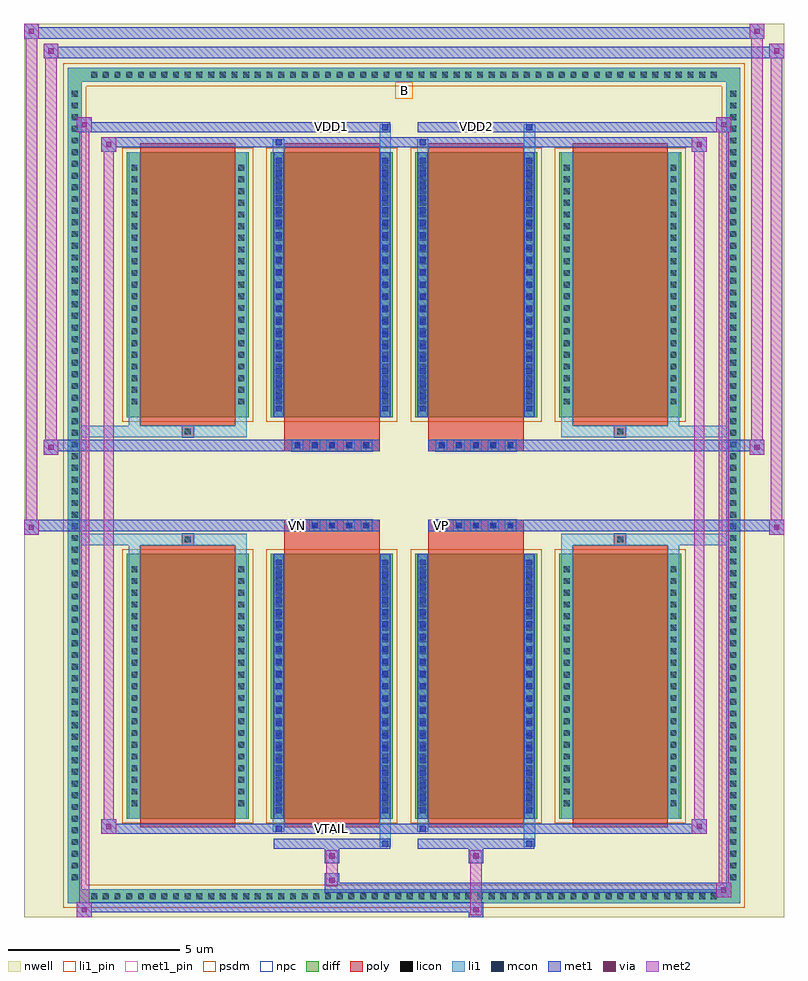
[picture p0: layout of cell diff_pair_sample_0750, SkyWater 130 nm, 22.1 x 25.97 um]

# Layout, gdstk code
import gdstk
lib = gdstk.Library(unit=1e-6, precision=5e-09)
def R(c, l, rs):  # rectangles x0, y0, x1, y1
    for r in rs: c.add(gdstk.rectangle(r[:2], r[2:], *l))
def A(c, l, x, y, w, h, nx, ny, dx, dy):  # array of equal rectangles
    R(c, l, [(x+i*dx, y+j*dy, x+i*dx+w, y+j*dy+h) for i in range(nx) for j in range(ny)])
def P(c, l, *ps):  # polygons
    for p in ps: c.add(gdstk.Polygon(p, *l))
nwell = (64, 20)
diff = (65, 20)
poly = (66, 20)
licon = (66, 44)
li1_pin = (67, 16)
li1 = (67, 20)
mcon = (67, 44)
met1_pin = (68, 16)
met1 = (68, 20)
via = (68, 44)
met2 = (69, 20)
psdm = (94, 20)
npc = (95, 20)

diff_pair_sample_0750 = lib.new_cell('diff_pair_sample_0750')
R(diff_pair_sample_0750, nwell, [(-11.05,-12.55,11.05,13.42), (-8.37,-10.74,-0.01,-0.8), (0.01,-10.74,8.37,-0.8), (-8.37,0.8,-0.01,10.74), (0.01,0.8,8.37,10.74)])
A(diff_pair_sample_0750, diff, -9.215, -12.15, 0.41, 0.41, 54, 2, 0.34, 23.89)
A(diff_pair_sample_0750, diff, -9.78, -11.595, 0.41, 0.41, 1, 68, 0, 0.34)
A(diff_pair_sample_0750, diff, 9.37, -11.595, 0.41, 0.41, 1, 68, 0, 0.34)
A(diff_pair_sample_0750, diff, -8.06, -9.695, 3.55, 7.71, 4, 2, 4.19, 11.68)
R(diff_pair_sample_0750, diff, [(-9.215,-12.15,9.215,-11.74), (-9.78,-11.595,-9.37,11.595), (9.37,-11.595,9.78,11.595), (-9.215,11.74,9.215,12.15)])
P(diff_pair_sample_0750, diff, [(9.78,12.15),(-9.78,12.15),(-9.78,-11.74),(-9.37,-11.74),(-9.37,11.74),(9.37,11.74),(9.37,-11.74),(-9.37,-11.74),(-9.78,-11.74),(-9.78,-12.15),(9.78,-12.15)])
A(diff_pair_sample_0750, poly, -7.67, -9.945, 2.77, 8.21, 4, 2, 4.19, 11.68)
A(diff_pair_sample_0750, poly, -3.26, -1.33, 0.33, 0.33, 5, 2, 0.5, 2.33)
A(diff_pair_sample_0750, poly, 0.93, -1.33, 0.33, 0.33, 5, 2, 0.5, 2.33)
R(diff_pair_sample_0750, poly, [(-6.45,-1.735,-6.12,-1.405), (-6.45,-1.735,-6.12,-1.405), (-3.48,-1.735,-0.71,-1.33), (0.71,-1.735,3.48,-1.33), (6.12,-1.735,6.45,-1.405), (6.12,-1.735,6.45,-1.405), (-3.48,-1.33,-0.71,-1), (0.71,-1.33,3.48,-1), (-3.48,1,-0.71,1.33), (0.71,1,3.48,1.33), (-3.48,1.33,-0.71,1.735), (0.71,1.33,3.48,1.735), (-6.45,1.405,-6.12,1.735), (-6.45,1.405,-6.12,1.735), (6.12,1.405,6.45,1.735), (6.12,1.405,6.45,1.735)])
A(diff_pair_sample_0750, licon, -9.095, -12.03, 0.17, 0.17, 54, 2, 0.34, 23.89)
A(diff_pair_sample_0750, licon, -9.66, -11.475, 0.17, 0.17, 1, 68, 0, 0.34)
A(diff_pair_sample_0750, licon, 9.49, -11.475, 0.17, 0.17, 1, 68, 0, 0.34)
A(diff_pair_sample_0750, licon, -7.92, -9.325, 0.17, 0.17, 1, 21, 0, 0.34)
A(diff_pair_sample_0750, licon, -4.82, -9.325, 0.17, 0.17, 1, 21, 0, 0.34)
A(diff_pair_sample_0750, licon, -3.73, -9.325, 0.17, 0.17, 1, 21, 0, 0.34)
A(diff_pair_sample_0750, licon, -0.63, -9.325, 0.17, 0.17, 1, 21, 0, 0.34)
A(diff_pair_sample_0750, licon, 0.46, -9.325, 0.17, 0.17, 1, 21, 0, 0.34)
A(diff_pair_sample_0750, licon, 3.56, -9.325, 0.17, 0.17, 1, 21, 0, 0.34)
A(diff_pair_sample_0750, licon, 4.65, -9.325, 0.17, 0.17, 1, 21, 0, 0.34)
A(diff_pair_sample_0750, licon, 7.75, -9.325, 0.17, 0.17, 1, 21, 0, 0.34)
A(diff_pair_sample_0750, licon, -3.18, -1.25, 0.17, 0.17, 5, 2, 0.5, 2.33)
A(diff_pair_sample_0750, licon, 1.01, -1.25, 0.17, 0.17, 5, 2, 0.5, 2.33)
A(diff_pair_sample_0750, licon, -7.92, 2.355, 0.17, 0.17, 1, 21, 0, 0.34)
A(diff_pair_sample_0750, licon, -4.82, 2.355, 0.17, 0.17, 1, 21, 0, 0.34)
A(diff_pair_sample_0750, licon, -3.73, 2.355, 0.17, 0.17, 1, 21, 0, 0.34)
A(diff_pair_sample_0750, licon, -0.63, 2.355, 0.17, 0.17, 1, 21, 0, 0.34)
A(diff_pair_sample_0750, licon, 0.46, 2.355, 0.17, 0.17, 1, 21, 0, 0.34)
A(diff_pair_sample_0750, licon, 3.56, 2.355, 0.17, 0.17, 1, 21, 0, 0.34)
A(diff_pair_sample_0750, licon, 4.65, 2.355, 0.17, 0.17, 1, 21, 0, 0.34)
A(diff_pair_sample_0750, licon, 7.75, 2.355, 0.17, 0.17, 1, 21, 0, 0.34)
R(diff_pair_sample_0750, licon, [(-6.37,-1.655,-6.2,-1.485), (6.2,-1.655,6.37,-1.485), (-6.37,1.485,-6.2,1.655), (6.2,1.485,6.37,1.655)])
R(diff_pair_sample_0750, li1_pin, [(-0.25,11.24,0.25,11.74)])
A(diff_pair_sample_0750, li1, -9.175, -12.11, 0.33, 0.33, 54, 2, 0.34, 23.89)
A(diff_pair_sample_0750, li1, -9.74, -11.555, 0.33, 0.33, 1, 68, 0, 0.34)
A(diff_pair_sample_0750, li1, 9.41, -11.555, 0.33, 0.33, 1, 68, 0, 0.34)
A(diff_pair_sample_0750, li1, -3.73, -9.525, 0.17, 0.17, 1, 21, 0, 0.36)
A(diff_pair_sample_0750, li1, -0.63, -9.525, 0.17, 0.17, 1, 21, 0, 0.36)
A(diff_pair_sample_0750, li1, 0.46, -9.525, 0.17, 0.17, 1, 21, 0, 0.36)
A(diff_pair_sample_0750, li1, 3.56, -9.525, 0.17, 0.17, 1, 21, 0, 0.36)
A(diff_pair_sample_0750, li1, -8, -9.405, 0.33, 0.33, 1, 21, 0, 0.34)
A(diff_pair_sample_0750, li1, -4.9, -9.405, 0.33, 0.33, 1, 21, 0, 0.34)
A(diff_pair_sample_0750, li1, -3.81, -9.405, 0.33, 0.33, 1, 21, 0, 0.34)
A(diff_pair_sample_0750, li1, -0.71, -9.405, 0.33, 0.33, 1, 21, 0, 0.34)
A(diff_pair_sample_0750, li1, 0.38, -9.405, 0.33, 0.33, 1, 21, 0, 0.34)
A(diff_pair_sample_0750, li1, 3.48, -9.405, 0.33, 0.33, 1, 21, 0, 0.34)
A(diff_pair_sample_0750, li1, 4.57, -9.405, 0.33, 0.33, 1, 21, 0, 0.34)
A(diff_pair_sample_0750, li1, 7.67, -9.405, 0.33, 0.33, 1, 21, 0, 0.34)
A(diff_pair_sample_0750, li1, -3.26, -1.33, 0.33, 0.33, 5, 2, 0.5, 2.33)
A(diff_pair_sample_0750, li1, 0.93, -1.33, 0.33, 0.33, 5, 2, 0.5, 2.33)
A(diff_pair_sample_0750, li1, -3.73, 2.155, 0.17, 0.17, 1, 21, 0, 0.36)
A(diff_pair_sample_0750, li1, -0.63, 2.155, 0.17, 0.17, 1, 21, 0, 0.36)
A(diff_pair_sample_0750, li1, 0.46, 2.155, 0.17, 0.17, 1, 21, 0, 0.36)
A(diff_pair_sample_0750, li1, 3.56, 2.155, 0.17, 0.17, 1, 21, 0, 0.36)
A(diff_pair_sample_0750, li1, -8, 2.275, 0.33, 0.33, 1, 21, 0, 0.34)
A(diff_pair_sample_0750, li1, -4.9, 2.275, 0.33, 0.33, 1, 21, 0, 0.34)
A(diff_pair_sample_0750, li1, -3.81, 2.275, 0.33, 0.33, 1, 21, 0, 0.34)
A(diff_pair_sample_0750, li1, -0.71, 2.275, 0.33, 0.33, 1, 21, 0, 0.34)
A(diff_pair_sample_0750, li1, 0.38, 2.275, 0.33, 0.33, 1, 21, 0, 0.34)
A(diff_pair_sample_0750, li1, 3.48, 2.275, 0.33, 0.33, 1, 21, 0, 0.34)
A(diff_pair_sample_0750, li1, 4.57, 2.275, 0.33, 0.33, 1, 21, 0, 0.34)
A(diff_pair_sample_0750, li1, 7.67, 2.275, 0.33, 0.33, 1, 21, 0, 0.34)
R(diff_pair_sample_0750, li1, [(-9.78,-12.15,-9.37,-11.74), (-9.78,-12.15,-9.37,-11.74), (-9.37,-12.15,9.37,-11.74), (9.37,-12.15,9.78,-11.74), (9.37,-12.15,9.78,-11.74), (-9.78,-11.74,-9.37,11.74), (9.37,-11.74,9.78,11.74), (-0.71,-10.5,-0.38,-9.695), (-0.63,-10.5,-0.46,-10.33), (3.48,-10.5,3.81,-9.695), (3.56,-10.5,3.73,-10.33), (-3.81,-10.07,-3.48,-9.695), (-3.73,-10.07,-3.56,-9.9), (0.38,-10.07,0.71,-9.695), (0.46,-10.07,0.63,-9.9), (-8,-9.695,-7.67,-1.985), (-4.9,-9.695,-4.57,-1.985), (-3.81,-9.695,-3.48,-1.985), (-0.71,-9.695,-0.38,-1.985), (0.38,-9.695,0.71,-1.985), (3.48,-9.695,3.81,-1.985), (4.57,-9.695,4.9,-1.985), (7.67,-9.695,8,-1.985), (-3.73,-9.525,-3.56,-2.155), (-0.63,-9.525,-0.46,-2.155), (0.46,-9.525,0.63,-2.155), (3.56,-9.525,3.73,-2.155), (-8,-1.985,-7.67,-1.405), (-4.9,-1.985,-4.57,-1.405), (4.57,-1.985,4.9,-1.405), (7.67,-1.985,8,-1.405), (-9.78,-1.735,-6.45,-1.405), (-8,-1.735,-6.45,-1.405), (-6.45,-1.735,-6.12,-1.405), (-6.12,-1.735,-4.57,-1.405), (4.57,-1.735,6.12,-1.405), (6.12,-1.735,6.45,-1.405), (6.12,-1.735,9.78,-1.405), (6.45,-1.735,8,-1.405), (-9.78,1.405,-6.45,1.735), (-8,1.405,-6.45,1.735), (-8,1.405,-7.67,1.985), (-6.45,1.405,-6.12,1.735), (-6.12,1.405,-4.57,1.735), (-4.9,1.405,-4.57,1.985), (4.57,1.405,6.12,1.735), (4.57,1.405,4.9,1.985), (6.12,1.405,6.45,1.735), (6.12,1.405,9.78,1.735), (6.45,1.405,8,1.735), (7.67,1.405,8,1.985), (-8,1.985,-7.67,9.695), (-4.9,1.985,-4.57,9.695), (-3.81,1.985,-3.48,9.695), (-0.71,1.985,-0.38,9.695), (0.38,1.985,0.71,9.695), (3.48,1.985,3.81,9.695), (4.57,1.985,4.9,9.695), (7.67,1.985,8,9.695), (-3.73,2.155,-3.56,9.525), (-0.63,2.155,-0.46,9.525), (0.46,2.155,0.63,9.525), (3.56,2.155,3.73,9.525), (-3.81,9.695,-3.48,10.07), (-0.71,9.695,-0.38,10.5), (0.38,9.695,0.71,10.07), (3.48,9.695,3.81,10.5), (-3.73,9.9,-3.56,10.07), (0.46,9.9,0.63,10.07), (-0.63,10.33,-0.46,10.5), (3.56,10.33,3.73,10.5), (-9.78,11.74,-9.37,12.15), (-9.78,11.74,-9.37,12.15), (-9.37,11.74,9.37,12.15), (9.37,11.74,9.78,12.15), (9.37,11.74,9.78,12.15)])
A(diff_pair_sample_0750, mcon, -3.73, -9.525, 0.17, 0.17, 1, 21, 0, 0.36)
A(diff_pair_sample_0750, mcon, -0.63, -9.525, 0.17, 0.17, 1, 21, 0, 0.36)
A(diff_pair_sample_0750, mcon, 0.46, -9.525, 0.17, 0.17, 1, 21, 0, 0.36)
A(diff_pair_sample_0750, mcon, 3.56, -9.525, 0.17, 0.17, 1, 21, 0, 0.36)
A(diff_pair_sample_0750, mcon, -3.18, -1.25, 0.17, 0.17, 5, 2, 0.5, 2.33)
A(diff_pair_sample_0750, mcon, 1.01, -1.25, 0.17, 0.17, 5, 2, 0.5, 2.33)
A(diff_pair_sample_0750, mcon, -3.73, 2.155, 0.17, 0.17, 1, 21, 0, 0.36)
A(diff_pair_sample_0750, mcon, -0.63, 2.155, 0.17, 0.17, 1, 21, 0, 0.36)
A(diff_pair_sample_0750, mcon, 0.46, 2.155, 0.17, 0.17, 1, 21, 0, 0.36)
A(diff_pair_sample_0750, mcon, 3.56, 2.155, 0.17, 0.17, 1, 21, 0, 0.36)
R(diff_pair_sample_0750, mcon, [(-0.63,-10.5,-0.46,-10.33), (3.56,-10.5,3.73,-10.33), (-3.73,-10.07,-3.56,-9.9), (0.46,-10.07,0.63,-9.9), (-3.73,9.9,-3.56,10.07), (0.46,9.9,0.63,10.07), (-0.63,10.33,-0.46,10.5), (3.56,10.33,3.73,10.5)])
R(diff_pair_sample_0750, met1_pin, [(-2.23,-10.11,-1.96,-9.84), (-3.23,-1.29,-2.96,-1.02), (0.96,-1.29,1.23,-1.02), (-2.23,10.29,-1.96,10.56), (1.96,10.29,2.23,10.56)])
A(diff_pair_sample_0750, met1, -3.79, -9.585, 0.29, 0.29, 1, 21, 0, 0.36)
A(diff_pair_sample_0750, met1, -0.69, -9.585, 0.29, 0.29, 1, 21, 0, 0.36)
A(diff_pair_sample_0750, met1, 0.4, -9.585, 0.29, 0.29, 1, 21, 0, 0.36)
A(diff_pair_sample_0750, met1, 3.5, -9.585, 0.29, 0.29, 1, 21, 0, 0.36)
A(diff_pair_sample_0750, met1, -3.24, -1.31, 0.29, 0.29, 5, 2, 0.5, 2.33)
A(diff_pair_sample_0750, met1, 0.95, -1.31, 0.29, 0.29, 5, 2, 0.5, 2.33)
A(diff_pair_sample_0750, met1, -3.79, 2.095, 0.29, 0.29, 1, 21, 0, 0.36)
A(diff_pair_sample_0750, met1, -0.69, 2.095, 0.29, 0.29, 1, 21, 0, 0.36)
A(diff_pair_sample_0750, met1, 0.4, 2.095, 0.29, 0.29, 1, 21, 0, 0.36)
A(diff_pair_sample_0750, met1, 3.5, 2.095, 0.29, 0.29, 1, 21, 0, 0.36)
R(diff_pair_sample_0750, met1, [(-9.51,-12.55,-9.08,-12.12), (1.88,-12.55,2.31,-12.12), (-9.51,-12.41,2.31,-12.12), (9.08,-11.98,9.51,-11.55), (-2.31,-11.84,9.51,-11.55), (-2.31,-11.7,-1.88,-11.27), (-2.31,-10.99,-1.88,-10.56), (1.88,-10.99,2.31,-10.56), (-3.79,-10.56,-0.4,-10.27), (-0.69,-10.56,-0.4,-10.27), (0.4,-10.56,3.79,-10.27), (3.5,-10.56,3.79,-10.27), (-8.8,-10.13,-8.37,-9.7), (-8.8,-10.13,-3.79,-9.84), (-3.79,-10.13,-3.5,-9.84), (-3.79,-10.13,-0.4,-9.84), (-0.4,-10.13,0.4,-9.84), (0.4,-10.13,0.69,-9.84), (0.4,-10.13,3.79,-9.84), (3.79,-10.13,8.8,-9.84), (8.37,-10.13,8.8,-9.7), (-3.79,-9.695,-3.5,-1.985), (-0.69,-9.695,-0.4,-1.985), (0.4,-9.695,0.69,-1.985), (3.5,-9.695,3.79,-1.985), (-11.05,-1.43,-10.62,-1), (10.62,-1.43,11.05,-1), (-11.05,-1.33,-0.71,-1), (-3.48,-1.33,-0.71,-1), (0.71,-1.33,3.48,-1), (0.71,-1.33,11.05,-1), (-10.48,0.9,-10.05,1.33), (10.05,0.9,10.48,1.33), (-10.48,1,-3.48,1.33), (-3.48,1,-0.71,1.33), (0.71,1,3.48,1.33), (3.48,1,10.48,1.33), (-3.79,1.985,-3.5,9.695), (-0.69,1.985,-0.4,9.695), (0.4,1.985,0.69,9.695), (3.5,1.985,3.79,9.695), (-8.8,9.7,-8.37,10.13), (8.37,9.7,8.8,10.13), (-8.8,9.84,-3.79,10.13), (-3.79,9.84,-3.5,10.13), (-3.79,9.84,-0.4,10.13), (-0.4,9.84,0.4,10.13), (0.4,9.84,0.69,10.13), (0.4,9.84,3.79,10.13), (3.79,9.84,8.8,10.13), (-9.51,10.27,-9.08,10.7), (-9.51,10.27,-3.79,10.56), (-3.79,10.27,-0.4,10.56), (-0.69,10.27,-0.4,10.56), (0.4,10.27,3.79,10.56), (3.5,10.27,3.79,10.56), (3.79,10.27,9.51,10.56), (9.08,10.27,9.51,10.7), (-10.48,12.42,-10.05,12.85), (-10.48,12.42,-8.37,12.75), (-8.37,12.42,8.37,12.75), (8.37,12.42,11.05,12.75), (10.62,12.42,11.05,12.85), (-11.05,12.99,-10.62,13.42), (-11.05,12.99,-8.37,13.32), (-8.37,12.99,8.37,13.32), (8.37,12.99,10.48,13.32), (10.05,12.99,10.48,13.42)])
R(diff_pair_sample_0750, via, [(-9.37,-12.41,-9.22,-12.26), (2.02,-12.41,2.17,-12.26), (9.22,-11.84,9.37,-11.69), (-2.17,-11.56,-2.02,-11.41), (-2.17,-10.85,-2.02,-10.7), (2.02,-10.85,2.17,-10.7), (-8.66,-9.99,-8.51,-9.84), (8.51,-9.99,8.66,-9.84), (-10.91,-1.29,-10.76,-1.14), (10.76,-1.29,10.91,-1.14), (-10.34,1.04,-10.19,1.19), (10.19,1.04,10.34,1.19), (-8.66,9.84,-8.51,9.99), (8.51,9.84,8.66,9.99), (-9.37,10.41,-9.22,10.56), (9.22,10.41,9.37,10.56), (-10.34,12.56,-10.19,12.71), (10.76,12.56,10.91,12.71), (-10.91,13.13,-10.76,13.28), (10.19,13.13,10.34,13.28)])
R(diff_pair_sample_0750, met2, [(-9.51,-12.55,-9.08,-12.12), (-9.44,-12.55,-9.15,10.7), (-9.15,-12.55,-9.08,-12.12), (-9.46,-12.5,-9.13,-12.17), (1.93,-12.5,2.26,-12.17), (1.93,-12.17,2.26,-10.94), (9.08,-11.98,9.51,-11.55), (9.15,-11.98,9.44,10.7), (9.44,-11.98,9.51,-11.55), (9.13,-11.93,9.46,-11.6), (-2.26,-11.65,-1.93,-11.32), (-2.26,-11.32,-1.93,-10.94), (-2.26,-10.94,-1.93,-10.61), (1.93,-10.94,2.26,-10.61), (-8.8,-10.13,-8.37,-9.7), (-8.73,-10.13,-8.44,10.13), (-8.44,-10.13,-8.37,-9.7), (8.37,-10.13,8.8,-9.7), (8.44,-10.13,8.73,10.13), (8.73,-10.13,8.8,-9.7), (-8.75,-10.08,-8.42,-9.75), (8.42,-10.08,8.75,-9.75), (-11.05,-1.43,-10.62,-1), (-11,-1.43,-10.67,13.42), (-10.67,-1.43,-10.62,-1), (10.62,-1.43,11.05,-1), (10.67,-1.43,11,12.85), (11,-1.43,11.05,-1), (-11,-1.38,-10.67,-1.05), (10.67,-1.38,11,-1.05), (-10.48,0.9,-10.05,1.33), (-10.43,0.9,-10.1,12.85), (-10.1,0.9,-10.05,1.33), (10.05,0.9,10.48,1.33), (10.1,0.9,10.43,13.42), (10.43,0.9,10.48,1.33), (-10.43,0.95,-10.1,1.28), (10.1,0.95,10.43,1.28), (-8.8,9.7,-8.37,10.13), (-8.44,9.7,-8.37,10.13), (8.37,9.7,8.8,10.13), (8.73,9.7,8.8,10.13), (-8.75,9.75,-8.42,10.08), (8.42,9.75,8.75,10.08), (-9.51,10.27,-9.08,10.7), (-9.15,10.27,-9.08,10.7), (9.08,10.27,9.51,10.7), (9.44,10.27,9.51,10.7), (-9.46,10.32,-9.13,10.65), (9.13,10.32,9.46,10.65), (-10.48,12.42,-10.05,12.85), (-10.1,12.42,-10.05,12.85), (10.62,12.42,11.05,12.85), (11,12.42,11.05,12.85), (-10.43,12.47,-10.1,12.8), (10.67,12.47,11,12.8), (-11.05,12.99,-10.62,13.42), (-10.67,12.99,-10.62,13.42), (10.05,12.99,10.48,13.42), (10.43,12.99,10.48,13.42), (-11,13.04,-10.67,13.37), (10.1,13.04,10.43,13.37)])
A(diff_pair_sample_0750, psdm, -8.19, -9.825, 3.81, 7.97, 4, 2, 4.19, 11.68)
P(diff_pair_sample_0750, psdm, [(9.91,12.28),(-9.91,12.28),(-9.91,-11.61),(-9.24,-11.61),(-9.24,11.61),(9.24,11.61),(9.24,-11.61),(-9.24,-11.61),(-9.91,-11.61),(-9.91,-12.28),(9.91,-12.28)])
A(diff_pair_sample_0750, npc, -3.28, -1.35, 0.37, 0.37, 5, 2, 0.5, 2.33)
A(diff_pair_sample_0750, npc, 0.91, -1.35, 0.37, 0.37, 5, 2, 0.5, 2.33)
R(diff_pair_sample_0750, npc, [(-6.47,-1.755,-6.1,-1.385), (6.1,-1.755,6.47,-1.385), (-3.28,-1.35,-2.41,-0.98), (-3.28,-1.35,-2.41,-0.98), (-2.78,-1.35,-1.91,-0.98), (-2.78,-1.35,-1.91,-0.98), (-2.28,-1.35,-1.41,-0.98), (-2.28,-1.35,-1.41,-0.98), (-1.78,-1.35,-0.91,-0.98), (-1.78,-1.35,-0.91,-0.98), (0.91,-1.35,1.78,-0.98), (0.91,-1.35,1.78,-0.98), (1.41,-1.35,2.28,-0.98), (1.41,-1.35,2.28,-0.98), (1.91,-1.35,2.78,-0.98), (1.91,-1.35,2.78,-0.98), (2.41,-1.35,3.28,-0.98), (2.41,-1.35,3.28,-0.98), (-3.28,0.98,-2.41,1.35), (-3.28,0.98,-2.41,1.35), (-2.78,0.98,-1.91,1.35), (-2.78,0.98,-1.91,1.35), (-2.28,0.98,-1.41,1.35), (-2.28,0.98,-1.41,1.35), (-1.78,0.98,-0.91,1.35), (-1.78,0.98,-0.91,1.35), (0.91,0.98,1.78,1.35), (0.91,0.98,1.78,1.35), (1.41,0.98,2.28,1.35), (1.41,0.98,2.28,1.35), (1.91,0.98,2.78,1.35), (1.91,0.98,2.78,1.35), (2.41,0.98,3.28,1.35), (2.41,0.98,3.28,1.35), (-6.47,1.385,-6.1,1.755), (6.1,1.385,6.47,1.755)])
diff_pair_sample_0750.add(gdstk.Label('VTAIL', (-2.095,-9.975), layer=68, texttype=5))
diff_pair_sample_0750.add(gdstk.Label('VN', (-3.095,-1.155), layer=68, texttype=5))
diff_pair_sample_0750.add(gdstk.Label('VP', (1.095,-1.155), layer=68, texttype=5))
diff_pair_sample_0750.add(gdstk.Label('B', (0,11.49), layer=67, texttype=5))
diff_pair_sample_0750.add(gdstk.Label('VDD2', (2.095,10.425), layer=68, texttype=5))
diff_pair_sample_0750.add(gdstk.Label('VDD1', (-2.095,10.425), layer=68, texttype=5))

lib.write_gds('diff_pair_sample_0750.gds')
